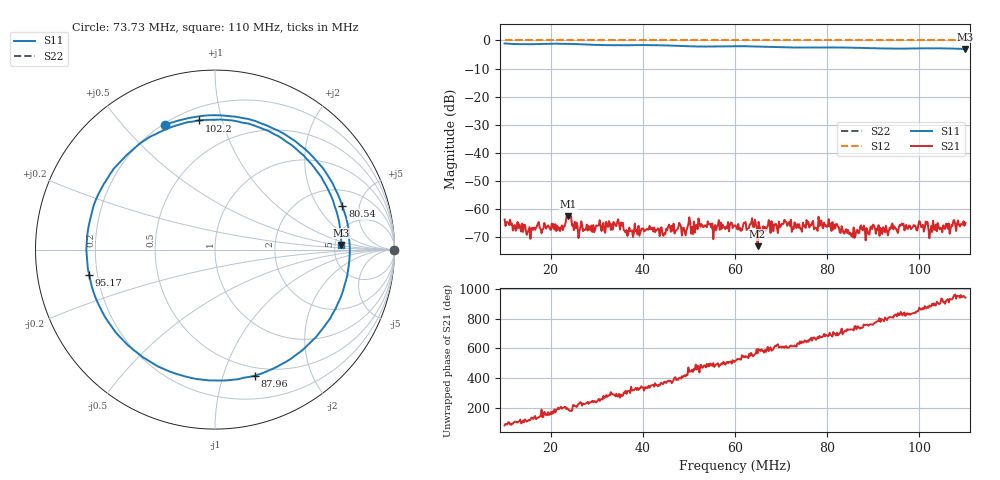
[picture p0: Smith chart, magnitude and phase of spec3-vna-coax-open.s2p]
! Anritsu VNA Master:  Model: MS2034B/10/19/501
! SN:  1337062
! /bd0/ovro-jan-2016/spec3-vna-coax-open.s2p
! Existing Calibration Information:
! TYPE:  Current Settings,  Active Cal Settings
! TIME:  01/10/2016 07:43:45 PM,  01/10/2016 03:13:30 PM
! INTERNAL TEMP:  42.3 C,  45.8 C
! # POINTS:  500,  500
! START FREQ:  10.000 MHz,  10.000 MHz
! STOP FREQ:  110.000 MHz,  110.000 MHz
! SOURCE POWER:  Low,  Low
! IFBW:  100 Hz,  100 Hz
! AVG FACTOR:  1 ,  3
! REF PLANE 1:  2.2245 m,  2.2245 m
! REF PLANE 2:  0 mm,  0 mm
! CAL TYPE:  1P2P S11,S21,  1P2P S11,S21
! CAL METHOD:  SOLT,  SOLT
! CAL LINE TYPE:  Coax,  Coax
! DUT PORT 1:  K-Conn(M),  K-Conn(M)
! DUT PORT 2:  N-Conn(M),  N-Conn(M)
! CAL STATUS:  OK: Accuracy High,  --
# GHZ S DB R 50.0
! FREQ.GHZ  S11DB  S11A  S21DB  S21A  S12DB  S12A  S22DB  S22A
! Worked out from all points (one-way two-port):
!   500 points, 10 MHz to 110 MHz, reference 50 ohm
!   highest |S21| = -62.39 dB at 23.83 MHz (marker M1); lowest = -73.2 dB at 64.91 MHz (marker M2)
!   lowest |S11| = -3.0 dB at 110 MHz (marker M3), VSWR 5.78, Z = 286 + j29.8 ohm
!   |S11| at or under -10 dB: nowhere
!   |S22| runs from 0.0 to 0.0 dB; largest |S21 - S12| = 1
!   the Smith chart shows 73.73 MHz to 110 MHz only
!   S11 on the Smith chart (normalised r, x): 73.73 MHz: 0.21, +0.66; 80.54 MHz: 3.05, +3.39; 87.96 MHz: 0.42, -1.28; 95.17 MHz: 0.17, -0.10; 102.2 MHz: 0.28, +0.84; 110 MHz: 5.71, +0.60
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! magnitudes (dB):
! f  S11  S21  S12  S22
! 10 MHz  -1.1  -63.7  0.0  0.0
! 15.21 MHz  -1.3  -67.4  0.0  0.0
! 17.21 MHz  -1.3  -65.2  0.0  0.0
! 22.42 MHz  -1.2  -65.8  0.0  0.0
! 23.83 MHz  -1.2  -62.4  0.0  0.0
! 25.83 MHz  -1.3  -66.2  0.0  0.0
! 26.83 MHz  -1.4  -65.6  0.0  0.0
! 34.25 MHz  -1.7  -66.1  0.0  0.0
! 36.45 MHz  -1.7  -67.4  0.0  0.0
! 43.47 MHz  -1.7  -67.2  0.0  0.0
! 60.1 MHz  -2.1  -65.8  0.0  0.0
! 64.11 MHz  -2.1  -66.4  0.0  0.0
! 64.91 MHz  -2.2  -73.2  0.0  0.0
! 73.73 MHz  -2.5  -66.6  0.0  0.0
! 76.73 MHz  -2.5  -64.9  0.0  0.0
! 80.54 MHz  -2.5  -66.2  0.0  0.0
! 85.15 MHz  -2.6  -69.4  0.0  0.0
! 87.96 MHz  -2.7  -65.9  0.0  0.0
! 93.37 MHz  -2.9  -67.8  0.0  0.0
! 95.17 MHz  -2.9  -67.8  0.0  0.0
! 102.2 MHz  -2.8  -70.4  0.0  0.0
! 110 MHz  -3.0  -64.9  0.0  0.0
